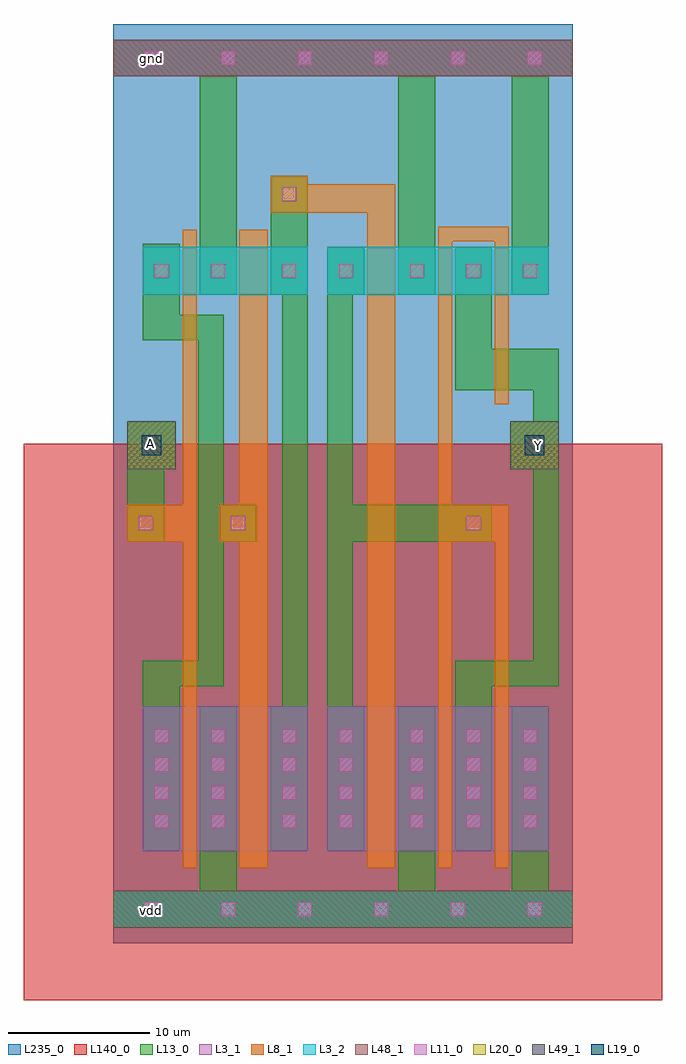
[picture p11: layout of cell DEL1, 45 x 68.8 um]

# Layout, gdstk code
import gdstk
lib = gdstk.Library(unit=1e-6, precision=1e-09)
def R(c, l, rs):  # rectangles x0, y0, x1, y1
    for r in rs: c.add(gdstk.rectangle(r[:2], r[2:], *l))
def A(c, l, x, y, w, h, nx, ny, dx, dy):  # array of equal rectangles
    R(c, l, [(x+i*dx, y+j*dy, x+i*dx+w, y+j*dy+h) for i in range(nx) for j in range(ny)])
def P(c, l, *ps):  # polygons
    for p in ps: c.add(gdstk.Polygon(p, *l))
L3_1 = (3, 1)
L3_2 = (3, 2)
L8_1 = (8, 1)
L11_0 = (11, 0)
L13_0 = (13, 0)
L19_0 = (19, 0)
L20_0 = (20, 0)
L48_1 = (48, 1)
L49_1 = (49, 1)
L140_0 = (140, 0)
L235_0 = (235, 0)

del1 = lib.new_cell('DEL1')
R(del1, L3_1, [(2.1,-58.3,8.7,-48.1), (6.1,-58.3,13.7,-48.1), (15.1,-58.3,22.7,-48.1), (20.1,-58.3,26.7,-48.1), (24.1,-58.3,30.7,-48.1), (0,-3.7,16.2,-1.1), (16.2,-3.7,32.4,-1.1)])
R(del1, L3_2, [(0,-63.7,16.2,-61.1), (16.2,-63.7,32.4,-61.1), (2.1,-19.1,13.7,-15.7), (2.1,-19.1,13.7,-15.7), (15.1,-19.1,26.7,-15.7), (15.1,-19.1,26.7,-15.7), (24.1,-19.1,30.7,-15.7)])
P(del1, L8_1, [(4.9,-59.5),(4.9,-36.5),(1,-36.5),(1,-33.9),(4.9,-33.9),(4.9,-14.5),(5.9,-14.5),(5.9,-59.5)],
  [(8.9,-59.5),(8.9,-36.5),(7.5,-36.5),(7.5,-33.9),(8.9,-33.9),(8.9,-14.5),(10.9,-14.5),(10.9,-59.5)],
  [(17.9,-59.5),(17.9,-13.3),(11.1,-13.3),(11.1,-10.7),(13.7,-10.7),(13.7,-11.3),(19.9,-11.3),(19.9,-59.5)],
  [(22.9,-59.5),(22.9,-14.3),(27.9,-14.3),(27.9,-26.8),(26.9,-26.8),(26.9,-15.3),(23.9,-15.3),(23.9,-33.9),(27.9,-33.9),(27.9,-59.5),(26.9,-59.5),(26.9,-36.5),(23.9,-36.5),(23.9,-59.5)])
A(del1, L11_0, 7.6, -62.9, 1, 1, 3, 1, 5.4, 0)
A(del1, L11_0, 2.9, -56.7, 1, 1, 1, 4, 0, 2)
A(del1, L11_0, 11.9, -56.7, 1, 1, 1, 4, 0, 2)
A(del1, L11_0, 15.9, -56.7, 1, 1, 1, 4, 0, 2)
A(del1, L11_0, 20.9, -56.7, 1, 1, 1, 4, 0, 2)
A(del1, L11_0, 20.9, -56.7, 1, 1, 3, 4, 4, 2)
A(del1, L11_0, 7.6, -2.9, 1, 1, 4, 1, 5.4, 0)
R(del1, L11_0, [(2.2,-62.9,3.2,-61.9), (2.2,-62.9,3.2,-61.9), (7.6,-62.9,8.6,-61.9), (7.6,-62.9,8.6,-61.9), (7.6,-62.9,8.6,-61.9), (18.4,-62.9,19.4,-61.9), (23.8,-62.9,24.8,-61.9), (23.8,-62.9,24.8,-61.9), (23.8,-62.9,24.8,-61.9), (23.8,-62.9,24.8,-61.9), (29.2,-62.9,30.2,-61.9), (6.9,-56.7,7.9,-55.7), (6.9,-56.7,7.9,-55.7), (6.9,-54.7,7.9,-53.7), (6.9,-54.7,7.9,-53.7), (6.9,-52.7,7.9,-51.7), (6.9,-52.7,7.9,-51.7), (6.9,-50.7,7.9,-49.7), (6.9,-50.7,7.9,-49.7), (1.8,-35.7,2.8,-34.7), (8.3,-35.7,9.3,-34.7), (24.9,-35.7,25.9,-34.7), (2.9,-17.9,3.9,-16.9), (2.9,-17.9,3.9,-16.9), (6.9,-17.9,7.9,-16.9), (6.9,-17.9,7.9,-16.9), (11.9,-17.9,12.9,-16.9), (11.9,-17.9,12.9,-16.9), (15.9,-17.9,16.9,-16.9), (15.9,-17.9,16.9,-16.9), (20.9,-17.9,21.9,-16.9), (20.9,-17.9,21.9,-16.9), (24.9,-17.9,25.9,-16.9), (24.9,-17.9,25.9,-16.9), (28.9,-17.9,29.9,-16.9), (11.9,-12.5,12.9,-11.5), (2.2,-2.9,3.2,-1.9), (7.6,-2.9,8.6,-1.9), (23.8,-2.9,24.8,-1.9), (29.2,-2.9,30.2,-1.9)])
P(del1, L13_0, [(6.1,-19.1),(6.1,-3.7),(0,-3.7),(0,-1.1),(32.4,-1.1),(32.4,-3.7),(30.7,-3.7),(30.7,-19.1),(28.1,-19.1),(28.1,-3.7),(22.7,-3.7),(22.7,-19.1),(20.1,-19.1),(20.1,-3.7),(8.7,-3.7),(8.7,-19.1)],
  [(1,-36.5),(1,-28),(4.4,-28),(4.4,-31.4),(3.6,-31.4),(3.6,-36.5)],
  [(2.1,-58.3),(2.1,-44.9),(6,-44.9),(6,-22.3),(2.1,-22.3),(2.1,-15.5),(4.7,-15.5),(4.7,-20.5),(7.8,-20.5),(7.8,-33.9),(10.1,-33.9),(10.1,-36.5),(7.8,-36.5),(7.8,-46.7),(4.7,-46.7),(4.7,-58.3)],
  [(11.1,-58.3),(11.1,-48.1),(11.9,-48.1),(11.9,-19.1),(11.1,-19.1),(11.1,-10.7),(13.7,-10.7),(13.7,-58.3)],
  [(15.1,-58.3),(15.1,-15.7),(17.7,-15.7),(17.7,-19.1),(16.9,-19.1),(16.9,-33.9),(26.7,-33.9),(26.7,-36.5),(16.9,-36.5),(16.9,-48.1),(17.7,-48.1),(17.7,-58.3)],
  [(24.1,-58.3),(24.1,-44.9),(29.6,-44.9),(29.6,-31.4),(28,-31.4),(28,-28),(29.6,-28),(29.6,-25.8),(24.1,-25.8),(24.1,-15.7),(26.7,-15.7),(26.7,-22.9),(31.4,-22.9),(31.4,-46.7),(26.7,-46.7),(26.7,-58.3)],
  [(0,-63.7),(0,-61.1),(6.1,-61.1),(6.1,-48.1),(8.7,-48.1),(8.7,-61.1),(20.1,-61.1),(20.1,-48.1),(22.7,-48.1),(22.7,-61.1),(28.1,-61.1),(28.1,-48.1),(30.7,-48.1),(30.7,-61.1),(32.4,-61.1),(32.4,-63.7)])
R(del1, L19_0, [(2,-30.4,3.4,-29), (29,-30.4,30.4,-29)])
R(del1, L20_0, [(1,-31.4,4.4,-28), (28,-31.4,31.4,-28)])
R(del1, L48_1, [(0,-63.7,16.2,-61.1), (16.2,-63.7,32.4,-61.1), (0,-3.7,16.2,-1.1), (16.2,-3.7,32.4,-1.1)])
R(del1, L49_1, [(1,-31.4,4.4,-28), (28,-31.4,31.4,-28)])
R(del1, L140_0, [(-6.3,-68.8,38.7,-29.6)])
R(del1, L235_0, [(0,-64.8,32.4,0)])
del1.add(gdstk.Label('gnd', (2.7,-2.4), layer=48, texttype=0))
del1.add(gdstk.Label('vdd', (2.7,-62.5), layer=48, texttype=0))
del1.add(gdstk.Label('Y', (30,-29.7), layer=49, texttype=0))
del1.add(gdstk.Label('A', (2.6,-29.6), layer=49, texttype=0))

lib.write_gds('DEL1.gds')
